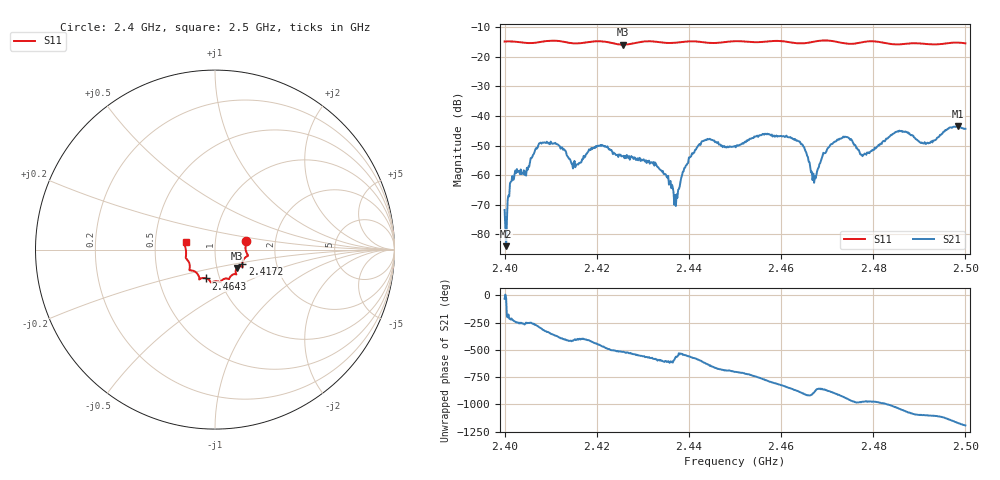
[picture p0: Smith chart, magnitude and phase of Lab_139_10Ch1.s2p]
# Hz S RI R 50
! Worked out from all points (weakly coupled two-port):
!   601 points, 2.4 GHz to 2.5 GHz, reference 50 ohm
!   highest |S21| = -43.43 dB at 2.4983 GHz (marker M1); lowest = -83.9 dB at 2.4003 GHz (marker M2)
!   lowest |S11| = -15.9 dB at 2.4257 GHz (marker M3), VSWR 1.38, Z = 62.4 - j13.1 ohm
!   |S11| at or under -10 dB: start of sweep to end of sweep
!   S12 and S22 are empty: the file has one direction only
!   S11 on the Smith chart (normalised r, x): 2.4 GHz: 1.41, +0.14; 2.4172 GHz: 1.34, -0.22; 2.4643 GHz: 0.86, -0.28; 2.5 GHz: 0.72, +0.06
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2.4e9  0.1738 0.0492  0.000224 -0.000131  0 0  0 0
2.400333e9  0.1746 0.0481  5.74e-05 -2.72e-05  0 0  0 0
2.401833e9  0.1757 0.0421  -0.000566 0.000611  0 0  0 0
2.404833e9  0.1701 0.0151  -0.00034 0.00129  0 0  0 0
2.407833e9  0.1776 -0.0199  0.00177 0.00307  0 0  0 0
2.416667e9  0.1526 -0.0749  0.00133 -0.00101  0 0  0 0
2.417167e9  0.1521 -0.0806  0.00158 -0.00141  0 0  0 0
2.420833e9  0.1545 -0.0967  -0.000545 -0.0032  0 0  0 0
2.425667e9  0.1224 -0.1025  -0.00195 -0.0008  0 0  0 0
2.433333e9  0.1126 -0.1367  -0.000805 0.00111  0 0  0 0
2.437167e9  0.0862 -0.1497  -0.00028 0.000113  0 0  0 0
2.442667e9  0.0715 -0.1622  -0.00174 0.00311  0 0  0 0
2.45e9  0.0294 -0.1809  0.00294 0.000964  0 0  0 0
2.4565e9  -0.0105 -0.1793  0.00281 -0.00415  0 0  0 0
2.464333e9  -0.0501 -0.1604  -0.0033 -0.000468  0 0  0 0
2.466667e9  -0.0762 -0.1596  -0.00113 0.000222  0 0  0 0
2.472667e9  -0.0896 -0.1498  -0.00401 0.000985  0 0  0 0
2.478e9  -0.1353 -0.116  -0.000605 0.00216  0 0  0 0
2.483333e9  -0.1404 -0.0895  0.000965 0.00429  0 0  0 0
2.491833e9  -0.1611 -0.0272  0.00328 -0.00134  0 0  0 0
2.498333e9  -0.1702 0.0333  1.08e-05 -0.00674  0 0  0 0
2.5e9  -0.1635 0.0417  -0.00243 -0.00556  0 0  0 0
